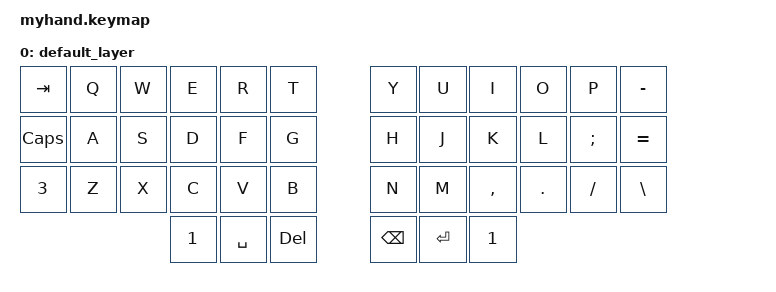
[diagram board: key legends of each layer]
 /*
 * Copyright (c) 2020 The ZMK Contributors
 *
 * SPDX-License-Identifier: MIT
 */

#include <behaviors.dtsi>
#include <dt-bindings/zmk/keys.h>
#include <dt-bindings/zmk/bt.h>

#include <behaviors/mouse_keys.dtsi>

#define DEFAULT 0
#define UPPER 1
#define LOWER 2
#define GAME 3

#define NUM_L 1 2 3 4 5
#define NUM_R 6 7 8 9 10

#define ALPHA_L 13 14 15 16 17 \
                25 26 27 28 29 \
                37 38 39 40 41 42
#define ALPHA_R 18 19 20 21 22 \
                30 31 32 33 34 \
             43 44 45 46 47 48

#define MACRO_L 0 12 24 36
#define MACRO_R 11 23 35 49

#define THUMBS 50 51 52 53 54

/ {
    keymap {
        compatible = "zmk,keymap";
 
        default_layer {
// ------------------------------------------------------------------------------------------------------------
// |  TAB  |  Q  |  W  |  E   |  R   |  T   |                   |  Y   |  U    |  I    |  O   |   P   |   -   |
// |  CTRL |  A  |  S  |  D   |  F   |  G   |                   |  H   |  J    |  K    |  L   |   ;   |   '   |
// | SHIFT |  Z  |  X  |  C   |  V   |  B   |   "["  |  |  "]"  |  N   |  M    |  ,    |  .   |   /   | SHIFT |
//                     | ALT  | GUI  | LOWER|  SPACE |  | ENTER | RAISE| BSPC  | GUI   |
            bindings = <
&kp TAB   &kp Q         &kp W         &kp E          &kp R           &kp T                    /**/            &kp Y      &kp U           &kp I          &kp O         &kp P            &kp MINUS
&kp CAPS  &kp A         &kp S         &kp D          &kp F           &kp G                    /**/            &kp H      &kp J           &kp K          &kp L         &kp SEMI         &kp EQUAL
&kp 3     &kp Z         &kp X         &kp C          &kp V           &kp B                    /**/            &kp N      &kp M           &kp COMMA      &kp DOT       &kp FSLH         &kp BSLH
                                      &kp N1         &kp SPACE       &kp DEL                /**/              &kp BSPC   &kp RET  &kp N1                           
            >;
        };
    };
};
